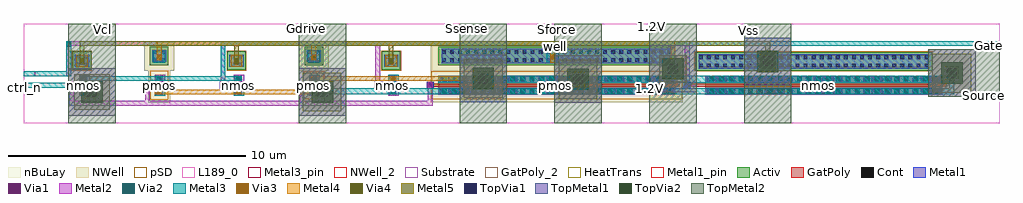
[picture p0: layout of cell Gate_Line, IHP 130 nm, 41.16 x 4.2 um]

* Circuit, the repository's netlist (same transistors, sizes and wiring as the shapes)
** sch_path: /home/designer/shared/verification/simulations/ihp-sg13g2/MissMatch/design_data/xschem/Gate_Line.sch
.subckt Gate_Line ctrl_n ctrl_p Vcl Gdrive Ssense Sforce 1.2V Vss Source Gate
*.PININFO Gate:B Vss:B Gdrive:B ctrl_p:I 1.2V:B Vcl:B Ssense:B Source:B Sforce:B ctrl_n:I
M1 Gate ctrl_n Gdrive net5 sg13_lv_pmos w=0.15u l=0.13u ng=1 m=1
M2 Gdrive ctrl_p Gate net1 sg13_lv_nmos w=0.15u l=0.13u ng=1 m=1
M3 Vcl ctrl_n Gate net2 sg13_lv_nmos w=0.15u l=0.13u ng=1 m=1
M4 Source ctrl_n Ssense net3 sg13_lv_pmos w=0.30u l=0.13u ng=1 m=1
M5 Ssense ctrl_p Source net4 sg13_lv_nmos w=0.15u l=0.13u ng=1 m=1
M6 Source ctrl_n Sforce net7 sg13_lv_pmos w=10u l=0.13u ng=1 m=1
M7 Sforce ctrl_p Source net6 sg13_lv_nmos w=10u l=0.13u ng=1 m=1
R1 Vss net1 ptap1 A=6.084e-13 P=3.12e-06
R2 1.2V net5 ntap1 A=6.084e-13 P=3.12e-06
R3 Vss net2 ptap1 A=6.084e-13 P=3.12e-06
R4 Vss net4 ptap1 A=6.084e-13 P=3.12e-06
R5 1.2V net3 ntap1 A=6.084e-13 P=3.12e-06
R6 Vss net6 ptap1 A=7.8e-12 P=2.156e-05
R7 1.2V net7 ntap1 A=7.8e-12 P=2.156e-05
.ends

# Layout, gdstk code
from math import pi, radians
import gdstk
lib = gdstk.Library(unit=1e-6, precision=1e-09)
def R(c, l, rs):  # rectangles x0, y0, x1, y1
    for r in rs: c.add(gdstk.rectangle(r[:2], r[2:], *l))
def A(c, l, x, y, w, h, nx, ny, dx, dy):  # array of equal rectangles
    R(c, l, [(x+i*dx, y+j*dy, x+i*dx+w, y+j*dy+h) for i in range(nx) for j in range(ny)])
Activ = (1, 0)
GatPoly = (5, 0)
GatPoly_2 = (5, 2)
Cont = (6, 0)
Metal1 = (8, 0)
Metal1_pin = (8, 2)
Metal2 = (10, 0)
pSD = (14, 0)
Via1 = (19, 0)
Via2 = (29, 0)
Metal3 = (30, 0)
Metal3_pin = (30, 2)
NWell = (31, 0)
NWell_2 = (31, 2)
nBuLay = (32, 0)
Substrate = (40, 0)
Via3 = (49, 0)
Metal4 = (50, 0)
HeatTrans = (51, 0)
Via4 = (66, 0)
Metal5 = (67, 0)
TopVia1 = (125, 0)
TopMetal1 = (126, 0)
TopVia2 = (133, 0)
TopMetal2 = (134, 0)
L189_0 = (189, 0)

ptap1_1 = lib.new_cell('ptap1$1')
R(ptap1_1, Activ, [(0,0,10,0.78)])
A(ptap1_1, Cont, 0.16, 0.14, 0.16, 0.16, 29, 2, 0.34, 0.34)
R(ptap1_1, Metal1, [(0.16,0.09,9.84,0.69), (0.16,0.14,9.84,0.64)])
R(ptap1_1, Metal1_pin, [(0.16,0.14,9.84,0.64)])
R(ptap1_1, pSD, [(-0.03,-0.03,10.03,0.81)])
R(ptap1_1, Substrate, [(0,0,10,0.78)])
ptap1_1.add(gdstk.Label('sub!', (5,0.01), layer=63, texttype=0))
ptap1_1.add(gdstk.Label('sub!', (5,0.01), layer=40, texttype=0))

ptap1 = lib.new_cell('ptap1')
R(ptap1, Activ, [(0,0,0.78,0.78)])
R(ptap1, Cont, [(0.14,0.14,0.3,0.3), (0.48,0.14,0.64,0.3), (0.14,0.48,0.3,0.64), (0.48,0.48,0.64,0.64)])
R(ptap1, Metal1, [(0.14,0.09,0.64,0.69), (0.14,0.14,0.64,0.64)])
R(ptap1, Metal1_pin, [(0.14,0.14,0.64,0.64)])
R(ptap1, pSD, [(-0.03,-0.03,0.81,0.81)])
R(ptap1, Substrate, [(0,0,0.78,0.78)])
ptap1.add(gdstk.Label('sub!', (0.39,0.01), layer=63, texttype=0))
ptap1.add(gdstk.Label('sub!', (0.39,0.01), layer=40, texttype=0))

ntap1 = lib.new_cell('ntap1')
R(ntap1, Activ, [(0,0,0.78,0.78)])
R(ntap1, Cont, [(0.14,0.14,0.3,0.3), (0.48,0.14,0.64,0.3), (0.14,0.48,0.3,0.64), (0.48,0.48,0.64,0.64)])
R(ntap1, Metal1, [(0.14,0.09,0.64,0.69)])
R(ntap1, Metal1_pin, [(0.14,0.09,0.64,0.69), (0.14,0.14,0.64,0.64)])
R(ntap1, NWell, [(-0.24,-0.24,1.02,1.02), (0,0,0.78,0.78)])
R(ntap1, NWell_2, [(0,0,0.78,0.78)])
R(ntap1, nBuLay, [(-0.24,-0.24,1.02,1.02)])
ntap1.add(gdstk.Label('well', (0.39,0.01), layer=63, texttype=0))
ntap1.add(gdstk.Label('well', (0.39,0.01), layer=31, texttype=0))

gate_line = lib.new_cell('Gate_Line')
R(gate_line, Activ, [(2.39,1.74,2.69,2.04), (2.465,1.74,2.615,2.61), (5.575,1.74,5.875,2.04), (5.65,1.74,5.8,2.61), (8.91,1.74,9.21,2.04), (8.985,1.74,9.135,2.61), (15.43,1.74,15.73,2.04), (15.505,1.74,15.655,2.61), (12.095,1.77,12.395,2.07), (12.095,1.77,12.395,2.58), (17.49,1.77,27.49,2.58), (27.19,1.77,27.49,2.07), (28.755,1.77,38.755,2.58), (38.455,1.77,38.755,2.07), (12.095,2.28,12.395,2.58), (27.19,2.28,27.49,2.58), (38.455,2.28,38.755,2.58), (2.39,2.31,2.69,2.61), (5.575,2.31,5.875,2.61), (8.91,2.31,9.21,2.61), (15.43,2.31,15.73,2.61), (17.49,3.02,27.49,3.8)])
R(gate_line, GatPoly, [(1.89,2.025,2.19,2.325), (5.075,2.025,5.375,2.325), (8.275,2.025,8.71,2.325), (11.595,2.025,11.895,2.325), (14.795,2.025,15.23,2.325), (17.01,2.025,17.31,2.325), (27.85,2.025,28.15,2.325), (2.19,2.11,2.89,2.24), (5.375,2.11,6.075,2.24), (5.47,2.11,5.98,2.24), (8.71,2.11,9.41,2.24), (11.895,2.11,12.595,2.24), (11.895,2.11,12.595,2.24), (15.23,2.11,15.93,2.24), (17.31,2.11,27.67,2.24), (17.31,2.11,27.67,2.24), (28.15,2.11,38.935,2.24)])
A(gate_line, GatPoly_2, 2.19, 2.11, 0.7, 0.13, 3, 1, 6.52, 0)
R(gate_line, GatPoly_2, [(28.15,2.11,38.935,2.24)])
A(gate_line, Cont, 17.91, 1.84, 0.16, 0.16, 3, 2, 0.345, 0.51)
A(gate_line, Cont, 18.95, 1.84, 0.16, 0.16, 4, 2, 0.345, 0.51)
A(gate_line, Cont, 20.335, 1.84, 0.16, 0.16, 3, 2, 0.345, 0.51)
A(gate_line, Cont, 21.375, 1.84, 0.16, 0.16, 4, 2, 0.345, 0.51)
A(gate_line, Cont, 22.76, 1.84, 0.16, 0.16, 3, 2, 0.345, 0.51)
A(gate_line, Cont, 23.8, 1.84, 0.16, 0.16, 4, 2, 0.345, 0.51)
A(gate_line, Cont, 25.185, 1.84, 0.16, 0.16, 3, 2, 0.345, 0.51)
A(gate_line, Cont, 26.225, 1.84, 0.16, 0.16, 4, 2, 0.345, 0.51)
A(gate_line, Cont, 29.175, 1.84, 0.16, 0.16, 3, 2, 0.345, 0.51)
A(gate_line, Cont, 30.215, 1.84, 0.16, 0.16, 4, 2, 0.345, 0.51)
A(gate_line, Cont, 31.6, 1.84, 0.16, 0.16, 3, 2, 0.345, 0.51)
A(gate_line, Cont, 32.64, 1.84, 0.16, 0.16, 4, 2, 0.345, 0.51)
A(gate_line, Cont, 34.025, 1.84, 0.16, 0.16, 3, 2, 0.345, 0.51)
A(gate_line, Cont, 35.065, 1.84, 0.16, 0.16, 4, 2, 0.345, 0.51)
A(gate_line, Cont, 36.45, 1.84, 0.16, 0.16, 3, 2, 0.345, 0.51)
A(gate_line, Cont, 37.49, 1.84, 0.16, 0.16, 4, 2, 0.345, 0.51)
A(gate_line, Cont, 17.65, 3.16, 0.16, 0.16, 29, 2, 0.34, 0.34)
R(gate_line, Cont, [(2.46,1.81,2.62,1.97), (5.645,1.81,5.805,1.97), (8.98,1.81,9.14,1.97), (15.5,1.81,15.66,1.97), (12.165,1.84,12.325,2), (17.56,1.84,17.72,2), (28.825,1.84,28.985,2), (1.96,2.095,2.12,2.255), (5.145,2.095,5.305,2.255), (8.48,2.095,8.64,2.255), (11.665,2.095,11.825,2.255), (15,2.095,15.16,2.255), (17.08,2.095,17.24,2.255), (27.92,2.095,28.08,2.255), (12.165,2.35,12.325,2.51), (17.56,2.35,17.72,2.51), (28.825,2.35,28.985,2.51), (2.46,2.38,2.62,2.54), (5.645,2.38,5.805,2.54), (8.98,2.38,9.14,2.54), (15.5,2.38,15.66,2.54)])
R(gate_line, Metal1, [(2.39,1.74,2.69,2.04), (5.575,1.74,5.875,2.04), (5.575,1.74,5.875,2.04), (8.91,1.74,9.21,2.04), (15.43,1.74,15.73,2.04), (12.095,1.77,12.395,2.07), (12.095,1.77,12.395,2.07), (17.49,1.77,27.49,2.07), (17.49,1.77,27.49,2.07), (28.755,1.77,38.755,2.07), (1.89,2.025,2.19,2.325), (5.075,2.025,5.375,2.325), (8.275,2.025,8.71,2.325), (11.595,2.025,11.895,2.325), (14.795,2.025,15.23,2.325), (17.01,2.025,17.31,2.325), (27.85,2.025,28.15,2.325), (12.095,2.28,12.395,2.58), (12.095,2.28,12.395,2.58), (17.49,2.28,27.49,2.58), (17.49,2.28,27.49,2.58), (28.755,2.28,38.755,2.58), (2.39,2.31,2.69,2.61), (5.575,2.31,5.875,2.61), (5.575,2.31,5.875,2.61), (8.91,2.31,9.21,2.61), (15.43,2.31,15.73,2.61), (17.65,3.11,27.33,3.71)])
A(gate_line, Metal1_pin, 2.39, 1.74, 0.3, 0.3, 3, 2, 6.52, 0.57)
R(gate_line, Metal1_pin, [(28.755,1.77,38.755,2.07), (28.755,2.28,38.755,2.58), (17.65,3.11,27.33,3.71), (17.65,3.16,27.33,3.66)])
A(gate_line, Metal2, 2.215, 2.96, 0.5, 0.5, 3, 1, 6.52, 0)
R(gate_line, Metal2, [(1.93,1.315,2.14,2.32), (1.93,1.315,17.26,1.515), (5.125,1.315,5.325,2.32), (11.65,1.315,11.85,2.32), (17.06,1.315,17.26,2.32), (2.35,1.725,2.79,2.055), (5.535,1.725,5.975,2.055), (8.87,1.725,9.31,2.055), (15.39,1.725,15.83,2.055), (12.06,1.74,12.5,2.07), (17.49,1.77,27.49,2.07), (28.755,1.77,38.755,2.07), (8.315,2.03,8.515,4.035), (27.9,2.03,28.1,4.035), (14.845,2.035,15.045,4.035), (12.06,2.28,12.5,2.61), (17.49,2.28,27.49,2.58), (28.755,2.28,38.755,2.58), (2.35,2.295,2.79,2.625), (5.535,2.295,5.975,2.625), (8.87,2.295,9.31,2.625), (15.39,2.295,15.83,2.625), (1.805,2.555,2.005,4.035), (31.14,2.93,31.64,3.43), (5.475,3.125,5.975,3.625), (11.995,3.125,12.495,3.625), (22.075,3.125,22.575,3.625), (1.805,3.835,28.1,4.035)])
R(gate_line, pSD, [(5.35,1.56,6.1,2.79), (11.795,1.59,12.695,2.76), (17.19,1.59,27.79,2.76)])
A(gate_line, Via1, 17.67, 1.825, 0.19, 0.19, 24, 2, 0.41, 0.51)
A(gate_line, Via1, 28.935, 1.825, 0.19, 0.19, 24, 2, 0.41, 0.51)
A(gate_line, Via1, 2.37, 3.115, 0.19, 0.19, 3, 1, 6.52, 0)
R(gate_line, Via1, [(2.445,1.795,2.635,1.985), (5.63,1.795,5.82,1.985), (8.965,1.795,9.155,1.985), (15.485,1.795,15.675,1.985), (12.155,1.81,12.345,2), (1.945,2.08,2.135,2.27), (5.13,2.08,5.32,2.27), (8.32,2.08,8.51,2.27), (11.655,2.08,11.845,2.27), (17.065,2.08,17.255,2.27), (27.905,2.08,28.095,2.27), (14.85,2.085,15.04,2.275), (12.155,2.35,12.345,2.54), (2.445,2.365,2.635,2.555), (5.63,2.365,5.82,2.555), (8.965,2.365,9.155,2.555), (15.485,2.365,15.675,2.555), (31.295,3.085,31.485,3.275), (5.63,3.28,5.82,3.47), (12.15,3.28,12.34,3.47), (22.23,3.28,22.42,3.47)])
A(gate_line, Via2, 17.67, 1.825, 0.19, 0.19, 24, 2, 0.41, 0.51)
A(gate_line, Via2, 28.935, 1.825, 0.19, 0.19, 24, 2, 0.41, 0.51)
A(gate_line, Via2, 2.37, 3.115, 0.19, 0.19, 3, 1, 6.52, 0)
R(gate_line, Via2, [(2.445,1.795,2.635,1.985), (5.63,1.795,5.82,1.985), (8.965,1.795,9.155,1.985), (12.155,1.825,12.345,2.015), (15.485,1.825,15.675,2.015), (1.94,2.08,2.13,2.27), (2.445,2.365,2.635,2.555), (5.63,2.365,5.82,2.555), (8.965,2.365,9.155,2.555), (12.155,2.365,12.345,2.555), (15.485,2.365,15.675,2.555), (31.295,3.085,31.485,3.275), (5.63,3.28,5.82,3.47), (12.15,3.28,12.34,3.47), (22.23,3.28,22.42,3.47), (1.81,3.795,2,3.985)])
A(gate_line, Metal3, 2.215, 2.96, 0.5, 0.5, 3, 1, 6.52, 0)
R(gate_line, Metal3, [(5.535,1.725,5.975,2.055), (8.87,1.725,9.31,2.055), (2.39,1.73,3.08,2.06), (12.105,1.8,39.265,2.04), (39.045,1.8,39.265,2.83), (0,2.075,2.18,2.275), (12.06,2.28,12.5,2.61), (17.49,2.28,38.755,2.58), (15.39,2.295,15.83,2.625), (2.395,2.36,9.205,2.56), (8.315,2.36,8.515,4.035), (0,2.555,2.005,2.755), (1.805,2.555,2.005,4.035), (31.14,2.93,31.64,3.43), (5.475,3.125,5.975,3.625), (11.995,3.125,12.495,3.625), (22.075,3.125,22.575,3.625), (8.315,3.835,41.165,4.035)])
R(gate_line, Metal3_pin, [(0,2.075,0.5,2.275), (0,2.555,0.5,2.755)])
R(gate_line, NWell, [(5.265,1.43,6.185,2.92), (11.785,1.46,12.705,2.89), (17.18,1.46,27.8,4.04), (17.49,3.02,27.49,3.8)])
R(gate_line, NWell_2, [(17.495,3.02,27.495,3.8)])
R(gate_line, nBuLay, [(17.25,2.78,27.73,4.04)])
R(gate_line, Substrate, [(5.575,1.74,5.875,2.04), (27.19,1.765,27.49,2.065), (12.095,1.77,12.395,2.07)])
A(gate_line, Via3, 2.37, 3.115, 0.19, 0.19, 3, 1, 6.52, 0)
R(gate_line, Via3, [(2.79,1.795,2.98,1.985), (2.79,1.795,2.98,1.985), (5.63,1.795,5.82,1.985), (8.965,1.795,9.155,1.985), (23.295,2.335,23.485,2.525), (23.295,2.335,23.485,2.525), (12.155,2.365,12.345,2.555), (15.485,2.365,15.675,2.555), (39.06,2.59,39.25,2.78), (31.295,3.085,31.485,3.275), (5.63,3.28,5.82,3.47), (12.15,3.28,12.34,3.47), (22.23,3.28,22.42,3.47)])
A(gate_line, Metal4, 2.215, 2.96, 0.5, 0.5, 3, 1, 6.52, 0)
R(gate_line, Metal4, [(2.585,1.59,3.185,2.19), (5.54,1.79,12.89,1.99), (23.09,2.13,23.69,2.73), (12.105,2.36,19.635,2.56), (38.855,2.385,39.455,2.985), (27.29,2.795,27.49,4.035), (31.14,2.93,31.64,3.43), (22.225,3.125,22.425,4.035), (5.625,3.23,5.825,4.035), (12.145,3.23,12.345,4.035), (5.625,3.835,27.49,4.035)])
A(gate_line, HeatTrans, 2.285, 2.11, 0.51, 0.13, 3, 1, 6.52, 0)
R(gate_line, HeatTrans, [(5.47,2.08,5.98,2.21), (11.915,2.11,12.575,2.24), (17.265,2.11,27.625,2.24), (27.92,2.11,38.705,2.24)])
A(gate_line, Via4, 2.37, 3.115, 0.19, 0.19, 3, 1, 6.52, 0)
R(gate_line, Via4, [(2.79,1.795,2.98,1.985), (12.495,1.795,12.685,1.985), (23.295,2.335,23.485,2.525), (19.295,2.365,19.485,2.555), (39.06,2.59,39.25,2.78), (27.295,2.845,27.485,3.035), (31.295,3.085,31.485,3.275)])
A(gate_line, Metal5, 2.365, 3.065, 0.2, 0.97, 3, 1, 6.52, 0)
R(gate_line, Metal5, [(11.77,1.07,13.41,2.71), (2.135,1.145,3.635,2.645), (22.575,1.615,24.205,3.245), (18.57,1.64,20.21,3.28), (38.335,1.865,39.975,3.505), (26.815,2.295,27.965,3.445), (31.075,2.865,31.705,3.495), (31.18,2.97,31.6,3.39), (31.29,3.035,31.49,4.035), (2.365,3.835,31.49,4.035)])
R(gate_line, TopVia1, [(2.675,1.68,3.095,2.1), (12.405,1.68,12.825,2.1), (23.18,2.22,23.6,2.64), (19.18,2.25,19.6,2.67), (38.945,2.475,39.365,2.895), (27.18,2.66,27.6,3.08), (31.18,2.97,31.6,3.39)])
R(gate_line, TopMetal1, [(1.885,0.89,3.885,2.89), (11.615,0.89,13.615,2.89), (22.39,1.43,24.39,3.43), (18.39,1.46,20.39,3.46), (38.155,1.685,40.155,3.685), (26.39,1.87,28.39,3.87), (30.39,2.18,32.39,4.18)])
R(gate_line, TopVia2, [(2.435,1.44,3.335,2.34), (12.165,1.44,13.065,2.34), (22.94,1.98,23.84,2.88), (18.94,2.01,19.84,2.91), (38.705,2.235,39.605,3.135), (26.94,2.42,27.84,3.32), (30.94,2.73,31.84,3.63)])
A(gate_line, TopMetal2, 18.39, 0.57, 2, 4.2, 4, 1, 4, 0)
R(gate_line, TopMetal2, [(1.885,0.57,3.885,4.77), (11.615,0.57,13.615,4.77), (38.155,1.685,41.165,3.685)])
R(gate_line, L189_0, [(0,0.57,41.165,4.77)])
gate_line.add(gdstk.Reference(ptap1_1, (38.325,2.79), rotation=pi, x_reflection=True))
gate_line.add(gdstk.Reference(ptap1, (15.895,3.6), rotation=3*pi/2, x_reflection=True))
gate_line.add(gdstk.Reference(ptap1, (9.375,3.6), rotation=3*pi/2, x_reflection=True))
gate_line.add(gdstk.Reference(ntap1, (12.635,3.8), rotation=3*pi/2, x_reflection=True))
gate_line.add(gdstk.Reference(ptap1, (2.855,3.6), rotation=3*pi/2, x_reflection=True))
gate_line.add(gdstk.Reference(ntap1, (6.115,3.8), rotation=3*pi/2, x_reflection=True))
gate_line.add(gdstk.Label('nmos', (33.525,2.175), layer=63, texttype=0))
gate_line.add(gdstk.Label('nmos', (2.55,2.16), layer=63, texttype=0))
gate_line.add(gdstk.Label('pmos', (5.725,2.145), layer=63, texttype=0))
gate_line.add(gdstk.Label('nmos', (9.06,2.175), layer=63, texttype=0))
gate_line.add(gdstk.Label('pmos', (12.245,2.175), layer=63, texttype=0))
gate_line.add(gdstk.Label('nmos', (15.58,2.175), layer=63, texttype=0))
gate_line.add(gdstk.Label('well', (22.445,3.79), layer=63, texttype=0))
gate_line.add(gdstk.Label('pmos', (22.445,2.175), layer=63, texttype=0))
gate_line.add(gdstk.Label('well', (22.49,3.79), layer=31, texttype=0))
gate_line.add(gdstk.Label('nmos', (33.525,2.175), layer=51, texttype=0))
gate_line.add(gdstk.Label('nmos', (2.54,2.175), layer=51, texttype=0))
gate_line.add(gdstk.Label('pmos', (5.725,2.145), layer=51, texttype=0))
gate_line.add(gdstk.Label('nmos', (9.06,2.175), layer=51, texttype=0))
gate_line.add(gdstk.Label('pmos', (12.245,2.175), layer=51, texttype=0))
gate_line.add(gdstk.Label('nmos', (15.58,2.175), layer=51, texttype=0))
gate_line.add(gdstk.Label('pmos', (22.445,2.175), layer=51, texttype=0))
gate_line.add(gdstk.Label('Gate', (40.715,3.865), layer=30, texttype=0))
gate_line.add(gdstk.Label('Source', (40.505,1.73), layer=134, texttype=0))
gate_line.add(gdstk.Label('Vcl', (3.325,4.525), layer=134, texttype=0))
gate_line.add(gdstk.Label('Gdrive', (11.945,4.57), layer=134, texttype=0))
gate_line.add(gdstk.Label('Ssense', (18.69,4.555), layer=134, texttype=0))
gate_line.add(gdstk.Label('Sforce', (22.485,4.545), layer=134, texttype=0))
gate_line.add(gdstk.Label('1.2V', (26.5,4.67), layer=134, texttype=0))
gate_line.add(gdstk.Label('Vss', (30.59,4.48), layer=134, texttype=0))
gate_line.add(gdstk.Label('Vcl', (2.885,1.89), layer=134, texttype=0))
gate_line.add(gdstk.Label('1.2V', (26.4,2.045), layer=134, texttype=0))
gate_line.add(gdstk.Label('ctrl_n', (0.03,2.085), layer=30, texttype=25))
gate_line.add(gdstk.Label('ctrl_p', (0.015,2.575), layer=30, texttype=25))

lib.write_gds('Gate_Line.gds')
